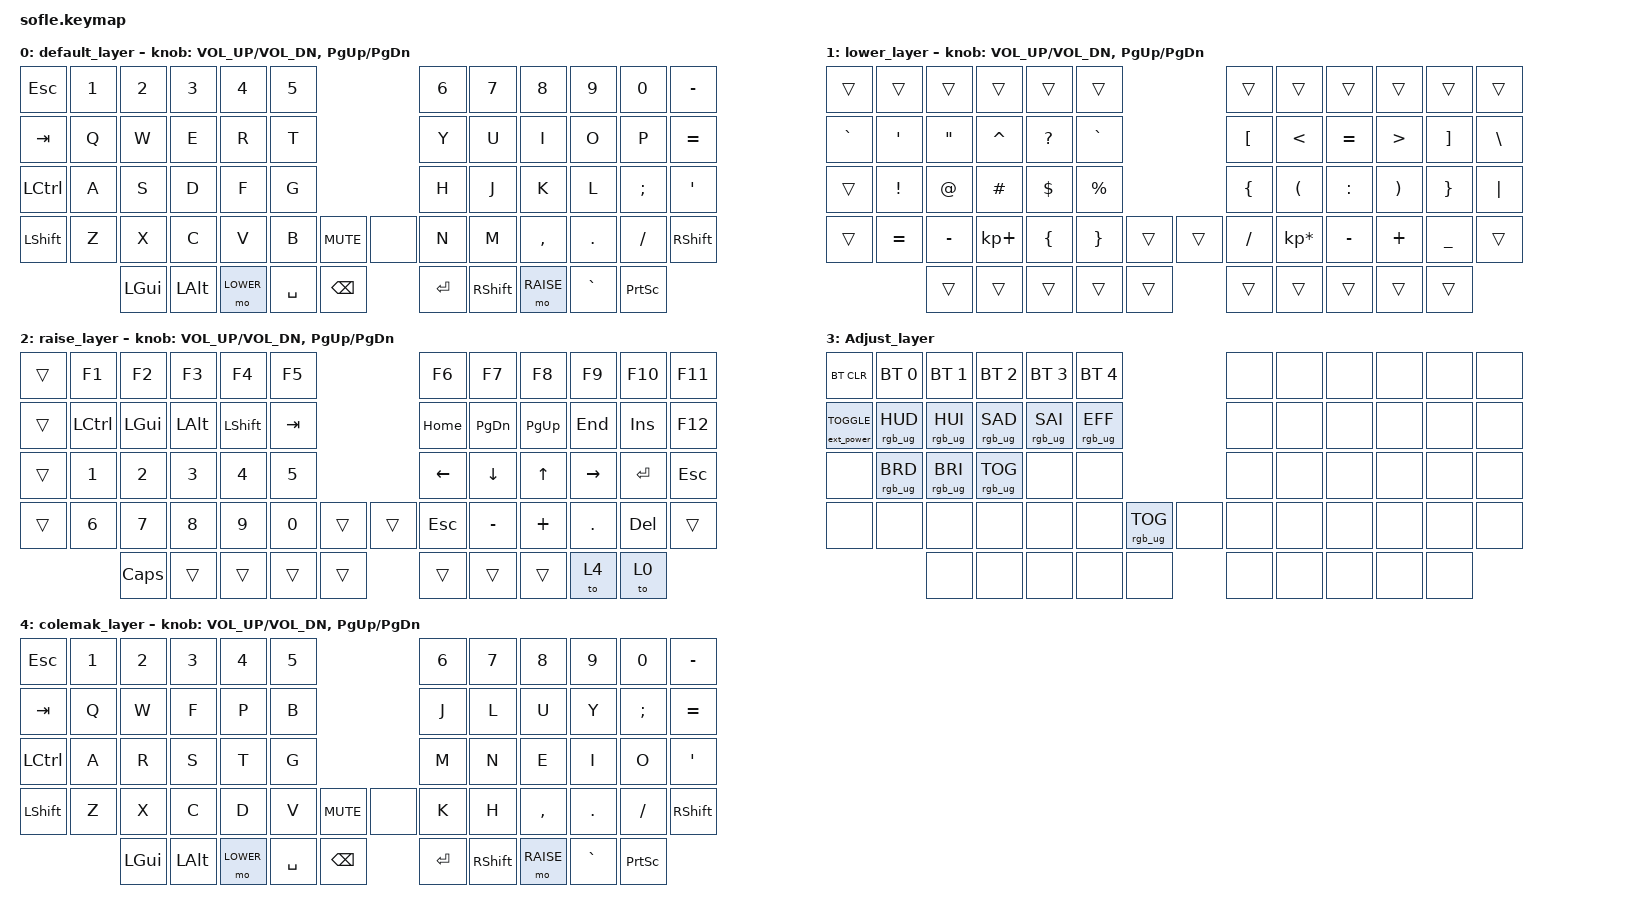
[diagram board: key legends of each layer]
/*
 * Copyright (c) 2020 The ZMK Contributors
 *
 * SPDX-License-Identifier: MIT
 */

#include <behaviors.dtsi>
#include <dt-bindings/zmk/keys.h>
#include <dt-bindings/zmk/bt.h>
#include <dt-bindings/zmk/rgb.h>
#include <dt-bindings/zmk/ext_power.h>

#define BASE 0
#define LOWER 1
#define RAISE 2
#define ADJUST 3
#define COLEMAK 4

/ {

   // Activate ADJUST layer by pressing raise and lower
    conditional_layers {
        compatible = "zmk,conditional-layers";
        adjust_layer {
            if-layers = <LOWER RAISE>;
            then-layer = <ADJUST>;
        };
    };

    keymap {
        compatible = "zmk,keymap";

        default_layer {
// ------------------------------------------------------------------------------------------------------------
// |  ESC  |  1  |  2  |  3   |  4   |  5   |                   |  6   |  7    |  8    |  9   |   0   |   -   |
// |  TAB  |  Q  |  W  |  E   |  R   |  T   |                   |  Y   |  U    |  I    |  O   |   P   |   =   |
// | LCTRL |  A  |  S  |  D   |  F   |  G   |                   |  H   |  J    |  K    |  L   |   ;   |   '   |
// | SHIFT |  Z  |  X  |  C   |  V   |  B   |  MUTE  |  |       |  N   |  M    |  ,    |  .   |   /   | SHIFT |
//               | GUI | ALT  | LWR  | SPACE|  BSPC  |  | ENTER | RSHFT| RAISE | GRAVE | PSCRN|
            bindings = <
&kp ESC   &kp N1 &kp N2   &kp N3   &kp N4    &kp N5                    &kp N6 &kp N7    &kp N8    &kp N9   &kp N0   &kp MINUS
&kp TAB   &kp Q  &kp W    &kp E    &kp R     &kp T                     &kp Y  &kp U     &kp I     &kp O    &kp P    &kp EQUAL
&kp LCTRL &kp A  &kp S    &kp D    &kp F     &kp G                     &kp H  &kp J     &kp K     &kp L    &kp SEMI &kp SQT
&kp LSHFT &kp Z  &kp X    &kp C    &kp V     &kp B  &kp C_MUTE &none   &kp N  &kp M     &kp COMMA &kp DOT  &kp FSLH &kp RSHFT
                 &kp LGUI &kp LALT &mo LOWER &kp SPACE  &kp BSPC    &kp RET &kp RSHFT  &mo RAISE &kp GRAVE  &kp PSCRN
            >;

            sensor-bindings = <&inc_dec_kp C_VOL_UP C_VOL_DN &inc_dec_kp PG_UP PG_DN>;
        };

        lower_layer {
// TODO: Some binds are waiting for shifted keycode support.
// ------------------------------------------------------------------------------------------------------------
// |       |     |     |      |      |      |                   |      |       |       |      |       |       |
// | `     |  '  |  "  |  ^   |  ?   |  `   |                   |   [  |   <   |   =   |   >  |   ]   |   \   |
// |       |  !  |  @  |  #   |  $   |  %   |                   |   {  |   (   |   :   |   )  |   }   |   |   |
// |       |  \  |  ~  |  |   |  &   |  ;   |        |  |       |   /  |   *   |   -   |   +  |   _   |       |
//               |     |      |      |      |        |  |       |      |       |       |      |
            bindings = <
&trans    &trans    &trans    &trans      &trans    &trans                    &trans    &trans          &trans        &trans    &trans    &trans
&kp GRAVE &kp SQT   &kp DQT   &kp CARET   &kp QMARK &kp GRAVE                 &kp LBKT  &kp LT          &kp EQUAL     &kp GT    &kp RBKT  &kp BSLH
&trans    &kp EXCL  &kp AT    &kp HASH    &kp DLLR  &kp PRCNT                 &kp LBRC  &kp LPAR        &kp COLON     &kp RPAR  &kp RBRC  &kp PIPE
&trans    &kp EQUAL &kp MINUS &kp KP_PLUS &kp LBRC  &kp RBRC  &trans   &trans &kp FSLH  &kp KP_MULTIPLY &kp MINUS     &kp PLUS  &kp UNDER &trans
                    &trans    &trans      &trans    &trans    &trans   &trans &trans    &trans   &trans          &trans
            >;

            sensor-bindings = <&inc_dec_kp C_VOL_UP C_VOL_DN &inc_dec_kp PG_UP PG_DN>;
        };

        raise_layer {
// ------------------------------------------------------------------------------------------------------------
// |     | F1   | F2   |  F3   |  F4   |  F5  |                |  F6  |  F7  |  F8   |  F9  |  F10  |  F11  |
// |     | LCTRL| LWIN | LALT  | LSHFT |  TAB |                | HOME | PGDN |  PGUP |  END |  INS  |  F12  |
// |     |   1  |   2  |   3   |   4   |   5  |                |  <-  |  v   |   ^   |  ->  |  ENTER|  ESC  |
// |     |   6  |   7  |   8   |   9   |   0  |      |  |      |  ESC |  -   |   +   |   .  |  DEL  |       |
//              | CAPS |       |       |      |      |  |      |      |      | TO 4  | TO 0 |
            bindings = <
&trans     &kp F1       &kp F2       &kp F3       &kp F4       &kp F5                   &kp F6    &kp F7    &kp F8    &kp F9    &kp F10 &kp F11
&trans     &kp LCTRL    &kp LGUI     &kp LALT     &kp LSHFT    &kp TAB                  &kp HOME  &kp PG_DN &kp PG_UP &kp END   &kp INS &kp F12
&trans     &kp N1       &kp N2       &kp N3       &kp N4       &kp N5                   &kp LEFT  &kp DOWN  &kp UP    &kp RIGHT &kp RET &kp ESC
&trans     &kp N6       &kp N7       &kp N8       &kp N9       &kp N0  &trans   &trans  &kp ESC   &kp MINUS &kp PLUS  &kp DOT   &kp DEL  &trans
                        &kp CAPS     &trans       &trans       &trans  &trans   &trans  &trans    &trans    &to 4     &to 0 
            >;

            sensor-bindings = <&inc_dec_kp C_VOL_UP C_VOL_DN &inc_dec_kp PG_UP PG_DN>;
        };

// ------------------------------------------------------------------------------------------------------------
// |BTCLR | BT1   | BT2   |  BT3  |  BT4  |  BT5  |                |      |      |       |      |       |       |
// |EXTPWR|RGB_HUD|RGB_HUI|RGB_SAD|RGB_SAI|RGB_EFF|                |      |      |       |      |       |       |
// |      |RGB_BRD|RGB_BRI|       |       |       |                |      |      |       |      |       |       |
// |      |       |       |       |       |       |RGB_TOG| |      |      |      |       |      |       |       |
//                |       |       |       |       |       | |      |      |      |       |      |

        Adjust_layer {
        bindings = <
&bt BT_CLR                      &bt BT_SEL 0    &bt BT_SEL 1    &bt BT_SEL 2    &bt BT_SEL 3    &bt BT_SEL 4                                    &none &none &none &none &none &none
&ext_power EXT_POWER_TOGGLE_CMD &rgb_ug RGB_HUD &rgb_ug RGB_HUI &rgb_ug RGB_SAD &rgb_ug RGB_SAI &rgb_ug RGB_EFF                                 &none &none &none &none &none &none
&none                           &rgb_ug RGB_BRD &rgb_ug RGB_BRI &rgb_ug RGB_TOG           &none           &none                                           &none &none &none &none &none &none
&none                           &none           &none           &none           &none           &none               &rgb_ug RGB_TOG  &none      &none &none &none &none &none &none
                                                &none           &none           &none           &none               &none            &none      &none &none &none &none
        >;
        };

        colemak_layer {
// ------------------------------------------------------------------------------------------------------------
// |  ESC  |  1  |  2  |  3   |  4   |  5   |                   |  6   |  7    |  8    |  9   |   0   |   -   |
// |  TAB  |  Q  |  W  |  F   |  P   |  B   |                   |  J   |  L    |  U    |  Y   |   ;   |   =   |
// | LCTRL |  A  |  R  |  S   |  T   |  G   |                   |  M   |  N    |  E    |  I   |   O   |   '   |
// | SHIFT |  Z  |  X  |  C   |  D   |  V   |  MUTE  |  |       |  K   |  H    |  ,    |  .   |   /   | SHIFT |
//               | GUI | ALT  | LWR  | SPACE|  BSPC  |  | ENTER | RSHFT| RAISE | GRAVE | PSCRN|
            bindings = <
&kp ESC   &kp N1 &kp N2   &kp N3   &kp N4    &kp N5                      &kp N6 &kp N7    &kp N8    &kp N9   &kp N0   &kp MINUS
&kp TAB   &kp Q  &kp W    &kp F    &kp P     &kp B                       &kp J  &kp L     &kp U     &kp Y    &kp SEMI &kp EQUAL
&kp LCTRL &kp A  &kp R    &kp S    &kp T     &kp G                       &kp M  &kp N     &kp E     &kp I    &kp O    &kp SQT
&kp LSHFT &kp Z  &kp X    &kp C    &kp D     &kp V  &kp C_MUTE &none     &kp K  &kp H     &kp COMMA &kp DOT  &kp FSLH &kp RSHFT
                 &kp LGUI &kp LALT &mo LOWER &kp SPACE  &kp BSPC    &kp RET &kp RSHFT  &mo RAISE &kp GRAVE  &kp PSCRN
            >;

            sensor-bindings = <&inc_dec_kp C_VOL_UP C_VOL_DN &inc_dec_kp PG_UP PG_DN>;
        };

    };
};
